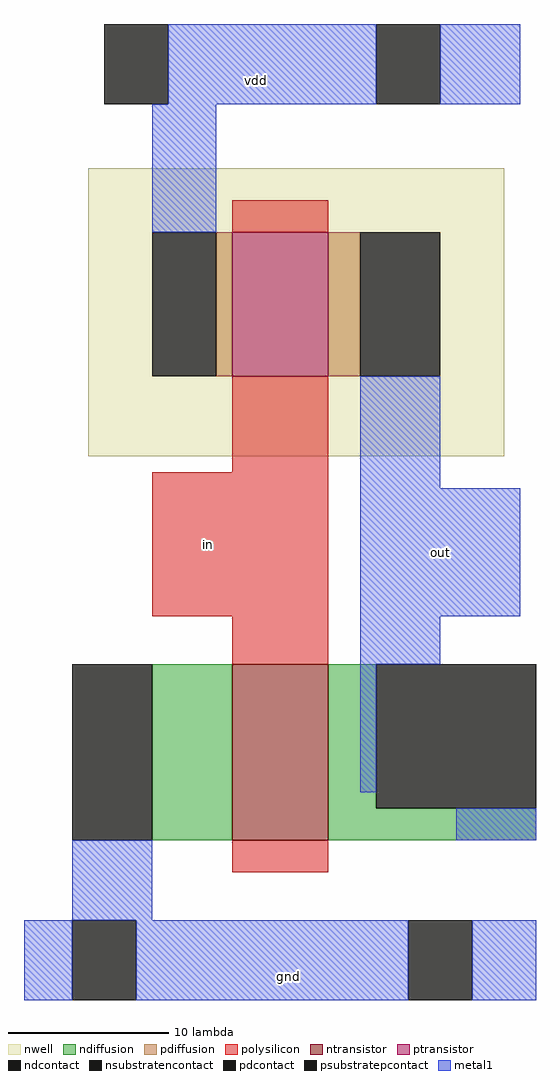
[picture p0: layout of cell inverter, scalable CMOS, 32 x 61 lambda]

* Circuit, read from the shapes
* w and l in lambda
.subckt inverter gnd in out vdd
M1 out in gnd gnd nfet w=11 l=6
M2 out in vdd n1 pfet w=9 l=6
.ends

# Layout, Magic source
magic
tech scmos
<< nwell >>
rect -5 -1 21 17
<< polysilicon >>
rect 4 13 10 15
rect 4 -2 10 4
rect -1 -11 10 -2
rect 4 -14 10 -11
rect 4 -27 10 -25
<< ndiffusion >>
rect -1 -25 4 -14
rect 10 -23 13 -14
rect 10 -25 23 -23
<< pdiffusion >>
rect 3 4 4 13
rect 10 4 12 13
<< metal1 >>
rect 0 21 13 26
rect 17 21 22 26
rect -1 13 3 21
rect 12 -3 17 4
rect 12 -11 22 -3
rect 12 -14 17 -11
rect 12 -22 13 -14
rect 18 -25 23 -23
rect -6 -30 -1 -25
rect -9 -35 -6 -30
rect -2 -35 15 -30
rect 19 -35 23 -30
<< ntransistor >>
rect 4 -25 10 -14
<< ptransistor >>
rect 4 4 10 13
<< ndcontact >>
rect -6 -25 -1 -14
rect 13 -23 23 -14
<< pdcontact >>
rect -1 4 3 13
rect 12 4 17 13
<< psubstratepcontact >>
rect -6 -35 -2 -30
rect 15 -35 19 -30
<< nsubstratencontact >>
rect -4 21 0 26
rect 13 21 17 26
<< labels >>
rlabel metal1 12 -11 22 -3 1 out
rlabel polysilicon -1 -11 6 -2 1 in
rlabel metal1 4 22 7 23 5 vdd
rlabel metal1 6 -34 9 -33 1 gnd
<< end >>
